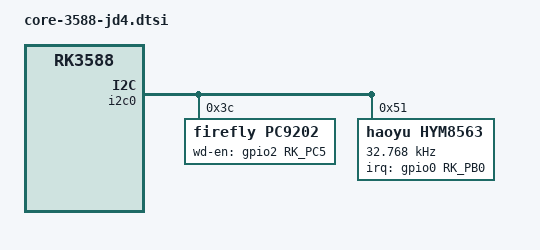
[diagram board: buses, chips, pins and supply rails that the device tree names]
// SPDX-License-Identifier: (GPL-2.0+ OR MIT)
/*
 * Copyright (c) 2021 Rockchip Electronics Co., Ltd.
 *
 */

#define rk3588
#include "rk3588-firefly-core.dtsi"
#include "rk3588-linux.dtsi"


/*pc9202*/
&i2c0 {
	pinctrl-0 = <&i2c0m2_xfer>;
	pc9202@3c {
		status = "okay";
		compatible = "firefly,pc9202";
		reg = <0x3c>;
		wd-en-gpio = <&gpio2 RK_PC5 GPIO_ACTIVE_HIGH>;
	};

	hym8563: hym8563@51 {
		status = "okay";
		compatible = "haoyu,hym8563";
		reg = <0x51>;
		#clock-cells = <0>;
		clock-frequency = <32768>;
		clock-output-names = "hym8563";
		pinctrl-names = "default";
		pinctrl-0 = <&hym8563_int>;
		interrupt-parent = <&gpio0>;
		interrupts = <RK_PB0 IRQ_TYPE_LEVEL_LOW>;
		wakeup-source;
	};
};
